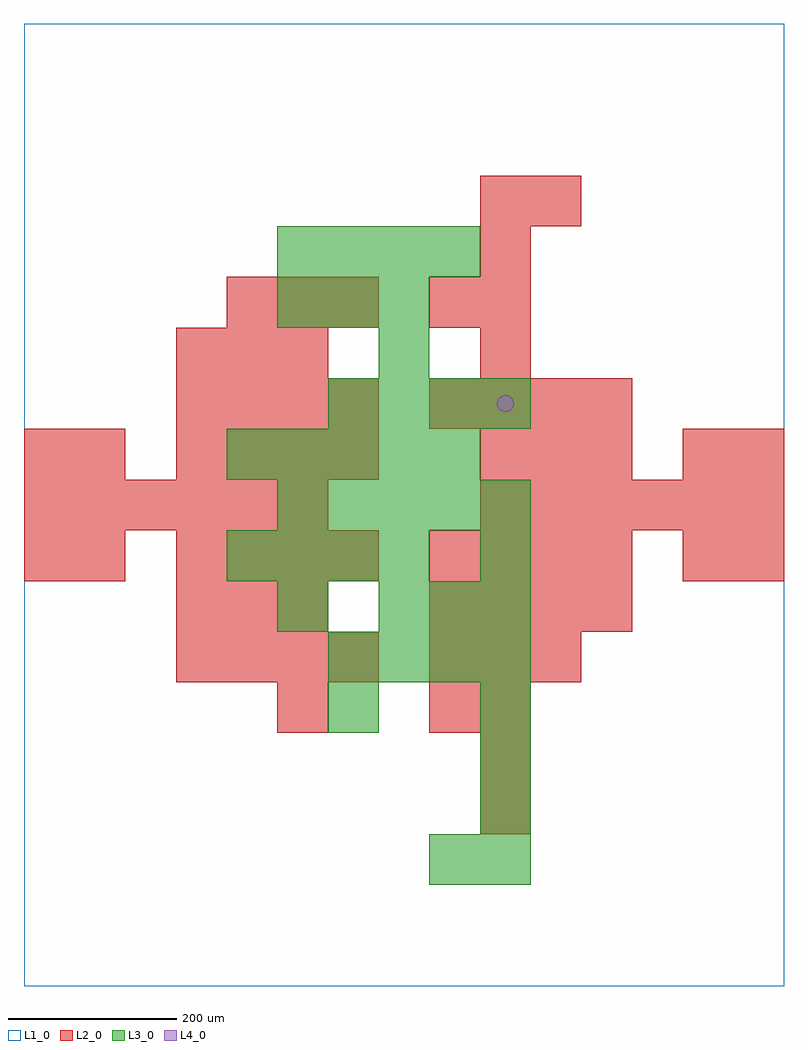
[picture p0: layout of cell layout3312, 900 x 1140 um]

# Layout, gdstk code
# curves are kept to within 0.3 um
import gdstk
lib = gdstk.Library(unit=1e-6, precision=1e-09)
def R(c, l, rs):  # rectangles x0, y0, x1, y1
    for r in rs: c.add(gdstk.rectangle(r[:2], r[2:], *l))
def A(c, l, x, y, w, h, nx, ny, dx, dy):  # array of equal rectangles
    R(c, l, [(x+i*dx, y+j*dy, x+i*dx+w, y+j*dy+h) for i in range(nx) for j in range(ny)])
def P(c, l, *ps):  # polygons
    for p in ps: c.add(gdstk.Polygon(p, *l))
L1_0 = (1, 0)
L2_0 = (2, 0)
L3_0 = (3, 0)
L4_0 = (4, 0)

layout3312 = lib.new_cell('layout3312')
R(layout3312, L1_0, [(0,0,900,1140)])
A(layout3312, L2_0, 540, 180, 60, 60, 1, 3, 0, 60)
A(layout3312, L2_0, 180, 360, 60, 60, 4, 3, 60, 120)
A(layout3312, L2_0, 480, 360, 60, 60, 3, 1, 60, 0)
A(layout3312, L2_0, 180, 420, 60, 60, 3, 2, 60, 300)
A(layout3312, L2_0, 480, 420, 60, 60, 4, 2, 60, 60)
A(layout3312, L2_0, 0, 540, 60, 60, 6, 1, 60, 0)
A(layout3312, L2_0, 540, 540, 60, 60, 6, 1, 60, 0)
A(layout3312, L2_0, 540, 600, 60, 60, 3, 1, 60, 0)
A(layout3312, L2_0, 180, 660, 60, 60, 4, 1, 60, 0)
A(layout3312, L2_0, 480, 660, 60, 60, 4, 1, 60, 0)
A(layout3312, L2_0, 540, 720, 60, 60, 1, 4, 0, 60)
A(layout3312, L2_0, 240, 780, 60, 60, 3, 1, 60, 0)
R(layout3312, L2_0, [(300,300,360,360), (480,300,540,360), (0,480,60,540), (60,480,120,540), (780,480,840,540), (840,480,900,540), (0,600,60,660), (60,600,120,660), (780,600,840,660), (840,600,900,660), (480,780,540,840), (600,900,660,960)])
A(layout3312, L3_0, 540, 120, 60, 60, 1, 4, 0, 60)
A(layout3312, L3_0, 360, 360, 60, 60, 4, 2, 60, 300)
A(layout3312, L3_0, 420, 420, 60, 60, 3, 1, 60, 0)
A(layout3312, L3_0, 240, 480, 60, 60, 4, 1, 60, 0)
A(layout3312, L3_0, 300, 540, 60, 60, 5, 1, 60, 0)
A(layout3312, L3_0, 240, 600, 60, 60, 5, 1, 60, 0)
A(layout3312, L3_0, 300, 780, 60, 60, 3, 1, 60, 0)
A(layout3312, L3_0, 300, 840, 60, 60, 4, 1, 60, 0)
R(layout3312, L3_0, [(480,120,540,180), (360,300,420,360), (300,420,360,480), (540,480,600,540), (420,720,480,780)])
P(layout3312, L4_0, [(580,690),(579.239,693.827),(577.071,697.071),(573.827,699.239),(570,700),(566.173,699.239),(562.929,697.071),(560.761,693.827),(560,690),(560.761,686.173),(562.929,682.929),(566.173,680.761),(570,680),(573.827,680.761),(577.071,682.929),(579.239,686.173)])

lib.write_gds('layout3312.gds')
